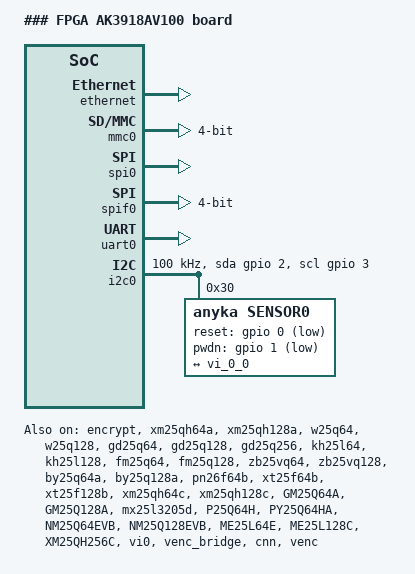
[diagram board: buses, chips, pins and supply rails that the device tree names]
*
 * FPGA AK3918AV100 board dts
 *
 * Copyright (C) 2020 Anyka(Guangzhou) Microelectronics Technology Co., Ltd.
 *
 * This program is free software; you can redistribute it and/or modify
 * it under the terms of the GNU General Public License as published by
 * the Free Software Foundation; either version 2 of the License, or
 * (at your option) any later version.
 *
 * This program is distributed in the hope that it will be useful,
 * but WITHOUT ANY WARRANTY; without even the implied warranty of
 * MERCHANTABILITY or FITNESS FOR A PARTICULAR PURPOSE.  See the
 * GNU General Public License for more details.
 */

 /dts-v1/;
#include "anycloud_ak3918av100x.dtsi"
#include "anycloud_norflash.dtsi"
#include "anycloud_nandflash.dtsi"

/ {
    compatible = "anyka,ak3918av100";
    model = "### FPGA AK3918AV100 board";
    version = "V1.0.00";
};

&ethernet {
/*
    pinctrl-names = "default";
    pinctrl-0 = <&ethernet_pins_rmii &phy_reset_pins>;
    reset-gpios = <&gpio 0 1>;
*/
    status = "okay";
};


&encrypt{
   /*
    * encrypt-mode
    * 0 = CRYPTO_SINGLE_GROUP_MODE ; 1 = CRYPTO_MULTI_GROUP_MODE
    */
    encrypt-mode = <1>;
    status = "okay";
};


&mmc0 {
    bus-width = <0x4>;
    max-frequency = <50000000>;
    /*
     *  detect mode:
     *  (1) non-removable;
     *  (2) detect-gpio/detect-gpios: card detect using gpio
     *      for example:
     *      detect-gpio = <&gpio 76 1>;  or detect-gpios = <&gpio 76 1>;
     *  (3) cd_clk: card detect using MCLK
     */
    cd_clk;
    /* if support highspeed, using cap-sd-highspeed */
    cap-sd-highspeed;
    //pinctrl-names = "default","idle";
    //pinctrl-0 = <&mci0_pins>,<&tf_en_pins>;
    /*pinctrl-0 = <&mci0_pins>,<&tf_en_pins>,<&tf_det_pins>;*/
    //pinctrl-1 = <&mci0_idle_pins>;
    /* 
     * support tf card circuit enable function 
     */
    //power-pins = <&gpio 12 1>;      //power-pins is which tf_en_pins describes
    //power-inverted;

    status = "okay";
};
&spi0 {
    /*  
    pinctrl-names = "default";
    pinctrl-0 = <&spiflash_pins>;
    cs-gpios = <&gpio 25 1>;
    */
    status = "okay";
};

&spif0 {
	/* spi flash data bus width:
	** 1 means 1 wire mode.
	** 2 means 2 wire mode
	** 4 means 4 wire mode.
	** default: 4 wire mode.
	**/
	bus-width = <4>;
	status = "okay";
};

&xm25qh64a{
    status = "okay";
};

&xm25qh128a{
    status = "okay"; 
};

&w25q64{
    status = "okay"; 
};

&w25q128{
    status = "okay";
};

&gd25q64{
    status = "okay";
};

&gd25q128{
    status = "okay";
};

&gd25q256{
    status = "okay";
};

&kh25l64{
    status = "okay";
};

&kh25l128{
    status = "okay";
};

&fm25q64{
    status = "okay";
};

&fm25q128{
    status = "okay";
};

&zb25vq64{
    status = "okay";
};

&zb25vq128{
    status = "okay";
};

&by25q64a{
    status = "okay";
};

&by25q128a{
    status = "okay";
};

&pn26f64b{
    status = "okay";
};

&xt25f64b{
    status = "okay";
};

&xt25f128b{
    status = "okay";
};

&xm25qh64c{
    status = "okay";
};

&xm25qh128c{
    status = "okay";
};

&GM25Q64A{
    status = "okay";
};

&GM25Q128A{
    status = "okay";
};

&mx25l3205d{
    status = "okay";
};

&P25Q64H{
    status = "okay";
};

&PY25Q64HA{
  status = "okay";
};

&NM25Q64EVB{
    status = "okay";
};

&NM25Q128EVB{
    status = "okay";
};

&ME25L64E{
    status = "okay";
};

&ME25L128C{
    status = "okay";
};

&XM25QH256C{
    status = "okay";
};

&uart0 {
    /*
    pinctrl-names = "default";
	pinctrl-0 = <&uart0_pins>;
    */
    status = "okay";
};

&i2c0 {
	/*
	pinctrl-names = "default";
	pinctrl-0 = <&i2c0_pins>;
	*/
	compatible = "i2c-gpio";//TODO FPGA is soft-i2c
	gpios = <&gpio 2 GPIO_ACTIVE_HIGH
		&gpio 3 GPIO_ACTIVE_HIGH
		>;

	clock-frequency = <100000>;//TODO FPGA is soft-i2c so not too high
	i2c-gpio,delay-us = <1>;
	sda-delay = <100>;
	status = "okay";
	#address-cells = <1>;
	#size-cells = <0>;

	sensor0: camera@0x30{
		compatible = "anyka,sensor0";
		reg = <0x30>;

		/*0xffff means the gpio is invalid*/
		reset-gpio = <&gpio 0 1>;
		pwdn-gpio = <&gpio 1 1>;

		port {
			sensor0_0: endpoint@0 {
				remote-endpoint = <&vi_0_0>;
			};
		};
	};
};

&vi0{
	/*
	pinctrl-names = "dvp0_12bits", "dvp0_10bits", "dvp0_8bits",
		"mipi0_2lane", "mipi0_1lane",
		"csi0_sclk", "csi1_sclk";
    pinctrl-0 = <&dvp0_12bits_pins>;
    pinctrl-1 = <&dvp0_10bits_pins>;
    pinctrl-2 = <&dvp0_8bits_pins>;
    pinctrl-3 = <&mipi0_2lane_pins>;
    pinctrl-4 = <&mipi0_1lane_pins>;
    pinctrl-5 = <&csi0_sclk_pin>;
    pinctrl-6 = <&csi1_sclk_pin>;
	*/
    status = "okay";

	port@0 {
		#address-cells = <1>;
		#size-cells = <0>;

		vi_0_0: endpoint@0 {
			reg = <0>;
			remote-endpoint = <&sensor0_0>;
		};
	};
};

&venc_bridge{
     status = "okay";
};

&cnn{
     status = "okay";
};

&venc{
     status = "okay";
};
